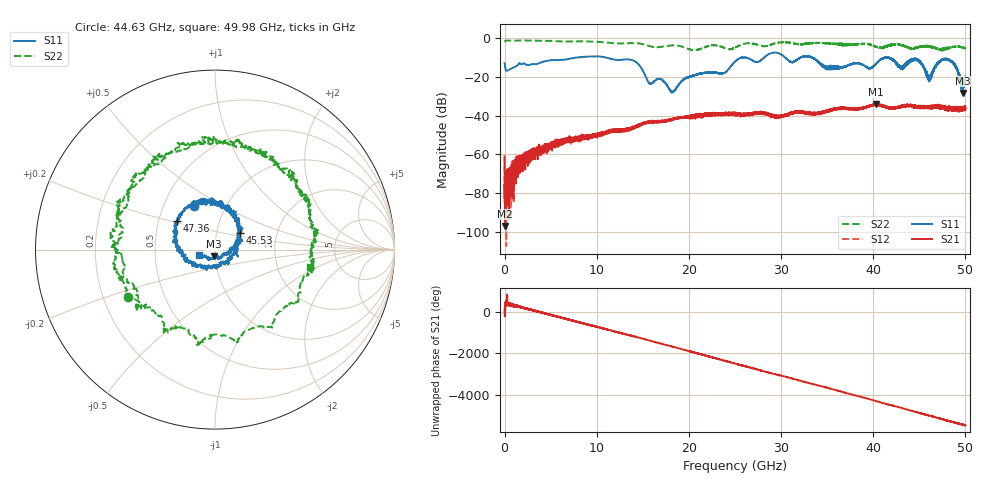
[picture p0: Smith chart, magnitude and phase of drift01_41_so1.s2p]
!Created with skrf (http://scikit-rf.org).
# Hz S RI R 50.0
!freq ReS11 ImS11 ReS21 ImS21 ReS12 ImS12 ReS22 ImS22
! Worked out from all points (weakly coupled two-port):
!   10001 points, 300 kHz to 50 GHz, reference 50 ohm
!   highest |S21| = -34.09 dB at 40.3 GHz (marker M1); lowest = -96.8 dB at 35.3 MHz (marker M2)
!   lowest |S11| = -28.4 dB at 49.72 GHz (marker M3), VSWR 1.08, Z = 49.3 - j3.7 ohm
!   |S11| at or under -10 dB: start of sweep to 8.078 GHz; 10.89 GHz to 25.98 GHz (15.09 GHz wide, 81.9 % of centre); 33.35 GHz to end of sweep (the widest 3 of 11)
!   |S22| runs from -6.7 to -1.4 dB; largest |S21 - S12| = 0.0036
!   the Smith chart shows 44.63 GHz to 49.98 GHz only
!   S11 on the Smith chart (normalised r, x): 44.63 GHz: 0.71, +0.37; 45.53 GHz: 1.29, +0.25; 47.36 GHz: 0.62, +0.21; 49.98 GHz: 0.83, -0.05
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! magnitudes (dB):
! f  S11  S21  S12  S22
! 300 kHz  -13.1  -61.6  -60.1  -2.1
! 35.3 MHz  -14.3  -96.8  -75.8  -1.8
! 260.3 MHz  -16.9  -74.2  -74.6  -1.4
! 3.115 GHz  -13.4  -59.1  -57.7  -1.4
! 8.335 GHz  -9.9  -51.2  -51.3  -1.8
! 13.78 GHz  -11.4  -46.4  -46.6  -2.7
! 15.73 GHz  -23.4  -43.4  -43.2  -4.2
! 16.67 GHz  -21.2  -42.8  -43.5  -4.8
! 18.24 GHz  -27.6  -41.9  -42.0  -3.9
! 25 GHz  -12.2  -38.2  -39.3  -5.1
! 33.34 GHz  -10.1  -39.0  -39.1  -2.7
! 35.11 GHz  -15.3  -37.4  -37.6  -2.8
! 40.3 GHz  -13.4  -34.1  -34.3  -4.7
! 41.67 GHz  -10.4  -36.1  -35.9  -4.1
! 44.63 GHz  -11.4  -35.6  -34.9  -5.2
! 45.53 GHz  -15.5  -35.2  -35.8  -4.5
! 46.14 GHz  -20.0  -35.4  -35.6  -4.7
! 47.36 GHz  -11.6  -36.0  -35.4  -6.0
! 48.71 GHz  -13.2  -35.9  -36.8  -4.5
! 49.72 GHz  -28.4  -37.3  -36.3  -4.9
! 49.98 GHz  -20.4  -36.8  -36.5  -5.4
! 50 GHz  -20.3  -36.2  -36.3  -5.3
